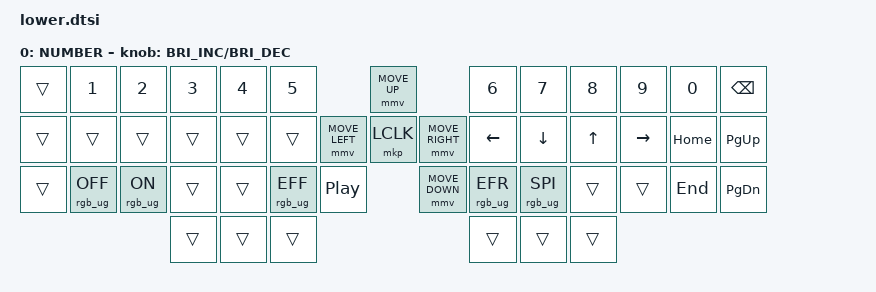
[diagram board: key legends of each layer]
/ {
    keymap {
        compatible = "zmk,keymap";

        lower_layer {
            display-name = "NUMBER";
            bindings = <
&trans  &kp N1           &kp N2          &kp N3        &kp N4        &kp N5                                         &mmv MOVE_UP                     &kp N6           &kp N7           &kp N8   &kp N9      &kp N0    &kp BSPC
&trans  &trans           &trans          &trans        &trans        &trans                         &mmv MOVE_LEFT  &mkp LCLK       &mmv MOVE_RIGHT  &kp LEFT         &kp DOWN         &kp UP   &kp RIGHT   &kp HOME  &kp PG_UP
&trans  &rgb_ug RGB_OFF  &rgb_ug RGB_ON  &trans        &trans        &rgb_ug RGB_EFF  &kp C_PP                      &mmv MOVE_DOWN                   &rgb_ug RGB_EFR  &rgb_ug RGB_SPI  &trans   &trans      &kp END   &kp PG_DN
                                         &trans        &trans        &trans                                                                          &trans           &trans           &trans
            >;
            sensor-bindings = <&inc_dec_kp C_BRI_INC C_BRI_DEC>;
        };
    };
};
